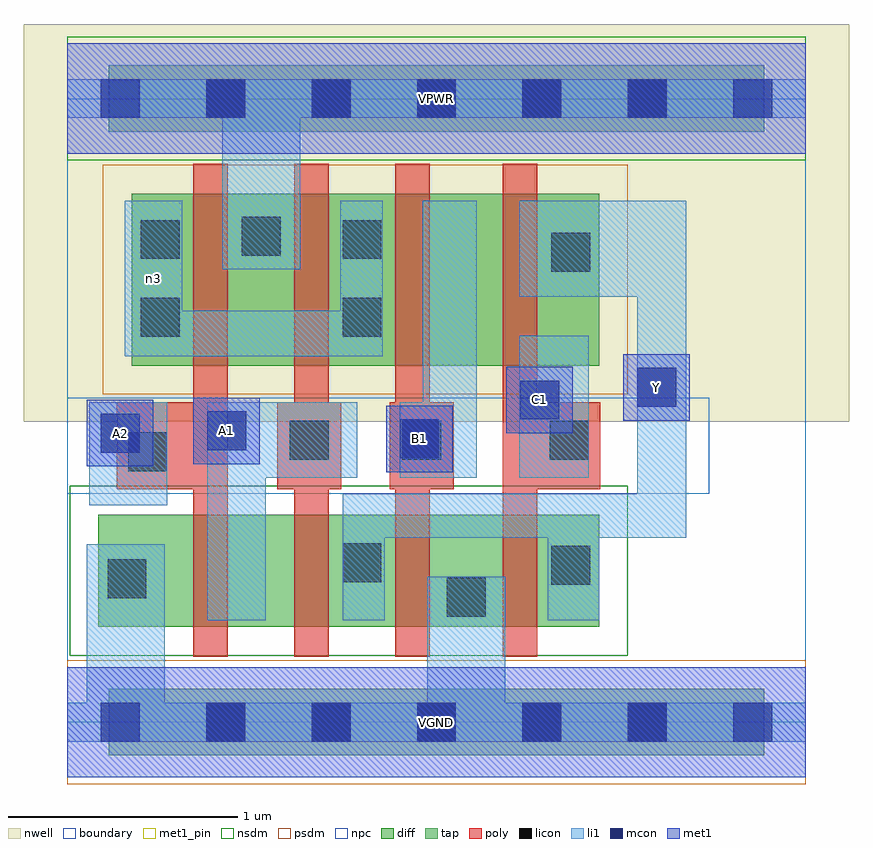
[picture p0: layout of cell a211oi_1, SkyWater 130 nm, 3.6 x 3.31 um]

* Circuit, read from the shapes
.subckt a211oi_1 A1 A2 B1 C1 VGND VPWR Y n3
XM1 n1 A2 VGND VGND sky130_fd_pr__nfet_01v8 w=0.49 l=0.15
XM2 Y A1 n1 VGND sky130_fd_pr__nfet_01v8 w=0.49 l=0.15
XM3 VGND B1 Y VGND sky130_fd_pr__nfet_01v8 w=0.49 l=0.15
XM4 Y C1 VGND VGND sky130_fd_pr__nfet_01v8 w=0.49 l=0.15
XM5 VPWR A2 n3 VPWR sky130_fd_pr__pfet_01v8 w=0.75 l=0.15
XM6 n3 A1 VPWR VPWR sky130_fd_pr__pfet_01v8 w=0.75 l=0.15
XM7 n2 B1 n3 VPWR sky130_fd_pr__pfet_01v8 w=0.75 l=0.15
XM8 Y C1 n2 VPWR sky130_fd_pr__pfet_01v8 w=0.75 l=0.15
.ends

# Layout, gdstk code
import gdstk
lib = gdstk.Library(unit=1e-6, precision=1e-09)
def R(c, l, rs):  # rectangles x0, y0, x1, y1
    for r in rs: c.add(gdstk.rectangle(r[:2], r[2:], *l))
def A(c, l, x, y, w, h, nx, ny, dx, dy):  # array of equal rectangles
    R(c, l, [(x+i*dx, y+j*dy, x+i*dx+w, y+j*dy+h) for i in range(nx) for j in range(ny)])
nwell = (64, 20)
diff = (65, 20)
tap = (65, 44)
poly = (66, 20)
licon = (66, 44)
li1 = (67, 20)
mcon = (67, 44)
met1_pin = (68, 16)
met1 = (68, 20)
nsdm = (93, 44)
psdm = (94, 20)
npc = (95, 20)
boundary = (235, 4)

a211oi_1 = lib.new_cell('a211oi_1')
R(a211oi_1, nwell, [(-0.19,1.31,3.41,3.045), (0,1.31,3.22,3.045)])
R(a211oi_1, diff, [(0.135,0.415,2.32,0.905), (0.28,1.555,2.32,2.305)])
R(a211oi_1, tap, [(0.18,-0.145,3.04,0.145), (0.18,2.575,3.04,2.865)])
A(a211oi_1, poly, 0.55, 0.285, 0.15, 2.15, 3, 1, 0.44, 0)
R(a211oi_1, poly, [(1.9,0.285,2.05,2.435), (0.215,1.015,0.7,1.395), (0.915,1.015,1.195,1.395), (1.405,1.015,1.685,1.395), (1.9,1.015,2.325,1.395)])
A(a211oi_1, licon, 0.605, -0.085, 0.17, 0.17, 5, 2, 0.46, 2.72)
R(a211oi_1, licon, [(1.655,0.46,1.825,0.63), (0.175,0.54,0.345,0.71), (2.11,0.6,2.28,0.77), (1.2,0.61,1.37,0.78), (0.265,1.095,0.435,1.265), (0.97,1.145,1.14,1.315), (1.46,1.145,1.63,1.315), (2.105,1.145,2.275,1.315), (0.32,1.68,0.49,1.85), (1.2,1.68,1.37,1.85), (2.11,1.965,2.28,2.135), (0.32,2.02,0.49,2.19), (1.2,2.02,1.37,2.19), (0.76,2.035,0.93,2.205)])
R(a211oi_1, li1, [(0,-0.085,3.22,0.085), (0.085,-0.085,0.425,0.775), (1.57,-0.085,1.91,0.635), (0.61,0.445,0.865,1.395), (1.2,0.445,1.385,0.995), (2.095,0.445,2.32,0.995), (1.2,0.805,2.7,0.995), (2.485,0.805,2.7,2.275), (0.095,0.945,0.435,1.395), (0.61,1.065,1.265,1.395), (1.45,1.065,1.785,1.395), (1.55,1.065,1.785,2.275), (1.97,1.065,2.275,1.685), (0.25,1.595,0.5,2.275), (0.25,1.595,1.375,1.795), (1.19,1.595,1.375,2.275), (1.97,1.855,2.7,2.275), (0.675,1.975,1.015,2.805), (0,2.635,3.22,2.805)])
A(a211oi_1, mcon, 0.145, -0.085, 0.17, 0.17, 7, 2, 0.46, 2.72)
R(a211oi_1, mcon, [(1.45,1.15,1.62,1.32), (0.145,1.175,0.315,1.345), (0.61,1.185,0.78,1.355), (1.975,1.32,2.145,1.49), (2.485,1.375,2.655,1.545)])
R(a211oi_1, met1_pin, [(0,-0.24,3.22,0.24), (1.39,1.09,1.68,1.38), (0.085,1.115,0.375,1.405), (0.55,1.125,0.84,1.415), (1.915,1.26,2.205,1.55), (2.425,1.315,2.715,1.605), (0,2.48,3.22,2.96)])
R(a211oi_1, met1, [(0,-0.24,3.22,0.24), (1.39,1.09,1.68,1.38), (0.085,1.115,0.375,1.405), (0.55,1.125,0.84,1.415), (1.915,1.26,2.205,1.55), (2.425,1.315,2.715,1.605), (0,2.48,3.22,2.96)])
R(a211oi_1, nsdm, [(0.01,0.29,2.445,1.03), (0,2.45,3.22,2.99)])
R(a211oi_1, psdm, [(0,-0.27,3.22,0.27), (0.155,1.43,2.445,2.43)])
R(a211oi_1, npc, [(0,0.995,2.8,1.415)])
R(a211oi_1, boundary, [(0,0,3.22,2.72)])
a211oi_1.add(gdstk.Label('n3', (0.375,1.935), layer=67, texttype=5))
a211oi_1.add(gdstk.Label('A1', (0.695,1.27), layer=68, texttype=5))
a211oi_1.add(gdstk.Label('A2', (0.23,1.26), layer=68, texttype=5))
a211oi_1.add(gdstk.Label('B1', (1.535,1.235), layer=68, texttype=5))
a211oi_1.add(gdstk.Label('C1', (2.06,1.405), layer=68, texttype=5))
a211oi_1.add(gdstk.Label('Y', (2.57,1.46), layer=68, texttype=5))
a211oi_1.add(gdstk.Label('VPWR', (1.61,2.72), layer=68, texttype=5))
a211oi_1.add(gdstk.Label('VGND', (1.61,0), layer=68, texttype=5))
a211oi_1.add(gdstk.Label('A1', (0.695,1.27), layer=68, texttype=16))
a211oi_1.add(gdstk.Label('A2', (0.23,1.26), layer=68, texttype=16))
a211oi_1.add(gdstk.Label('B1', (1.535,1.235), layer=68, texttype=16))
a211oi_1.add(gdstk.Label('C1', (2.06,1.405), layer=68, texttype=16))
a211oi_1.add(gdstk.Label('Y', (2.57,1.46), layer=68, texttype=16))
a211oi_1.add(gdstk.Label('VPWR', (1.61,2.72), layer=68, texttype=16))
a211oi_1.add(gdstk.Label('VGND', (1.61,0), layer=68, texttype=16))

lib.write_gds('a211oi_1.gds')
